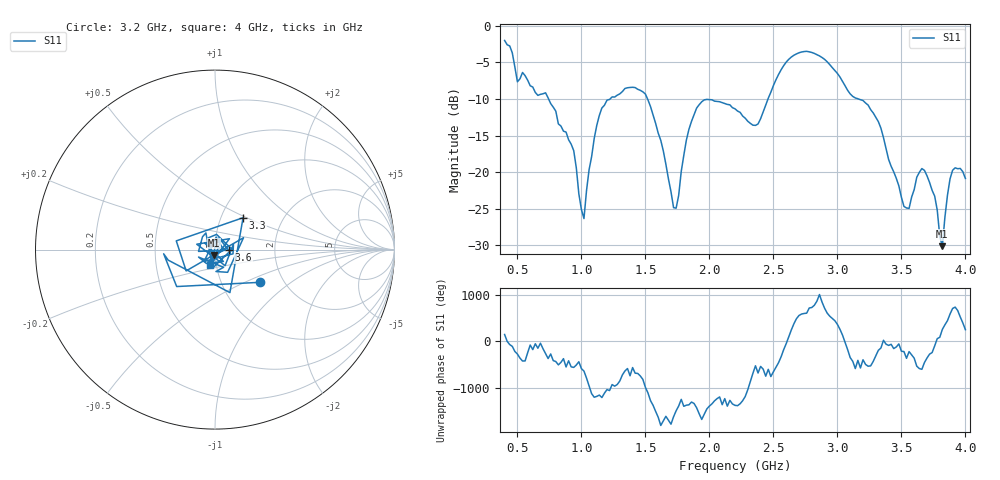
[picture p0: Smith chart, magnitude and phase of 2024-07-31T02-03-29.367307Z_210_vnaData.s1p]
!Created with skrf (http://scikit-rf.org).
# Hz S RI R 50.0
!freq ReS11 ImS11
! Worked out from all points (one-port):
!   181 points, 400 MHz to 4 GHz, reference 50 ohm
!   lowest |S11| = -30.1 dB at 3.82 GHz (marker M1), VSWR 1.06, Z = 49.2 - j3.01 ohm
!   |S11| at or under -10 dB: 743.5 MHz to 1.224 GHz (480.7 MHz wide, 48.9 % of centre); 1.517 GHz to 2.458 GHz (941.3 MHz wide, 47.4 % of centre); 3.164 GHz to end of sweep
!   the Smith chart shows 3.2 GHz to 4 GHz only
!   S11 on the Smith chart (normalised r, x): 3.2 GHz: 1.51, -0.61; 3.3 GHz: 1.27, +0.48; 3.6 GHz: 1.16, -0.01; 4 GHz: 0.93, -0.16
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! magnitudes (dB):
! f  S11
! 400 MHz  -2.0
! 500 MHz  -7.7
! 720 MHz  -9.2
! 860 MHz  -14.4
! 940 MHz  -17.1
! 1.02 GHz  -26.3
! 1.14 GHz  -12.3
! 1.3 GHz  -9.3
! 1.5 GHz  -9.3
! 1.62 GHz  -15.6
! 1.72 GHz  -24.8
! 1.76 GHz  -23.2
! 1.82 GHz  -15.6
! 1.9 GHz  -11.3
! 2.2 GHz  -11.4
! 2.38 GHz  -13.4
! 2.66 GHz  -4.0
! 2.88 GHz  -4.3
! 3.1 GHz  -9.3
! 3.2 GHz  -10.2
! 3.3 GHz  -12.5
! 3.56 GHz  -24.9
! 3.6 GHz  -22.4
! 3.68 GHz  -19.8
! 3.76 GHz  -23.3
! 3.82 GHz  -30.1
! 3.9 GHz  -19.7
! 4 GHz  -20.9
